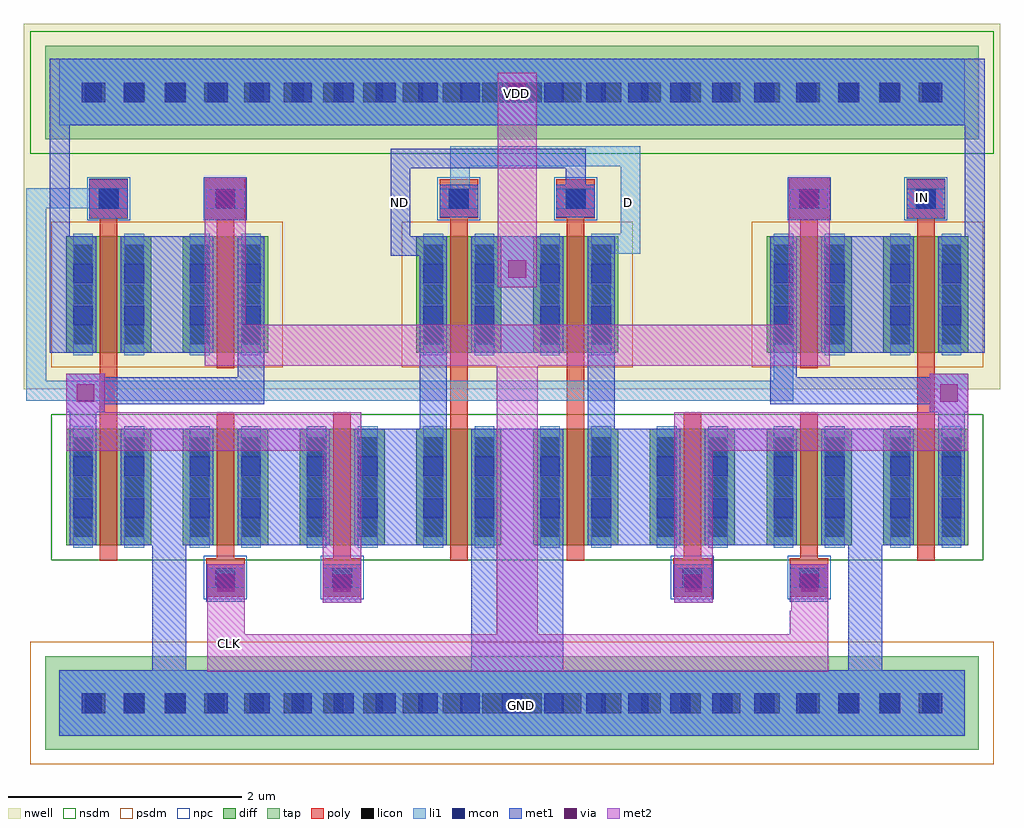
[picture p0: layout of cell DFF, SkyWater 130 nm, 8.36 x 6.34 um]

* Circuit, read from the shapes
.subckt DFF CLK D GND IN ND VDD
XM1 GND n1 n2 GND sky130_fd_pr__nfet_01v8 w=1 l=0.15
XM2 n3 CLK GND GND sky130_fd_pr__nfet_01v8 w=1 l=0.15
XM3 ND n2 n3 GND sky130_fd_pr__nfet_01v8 w=1 l=0.15
XM4 GND D ND GND sky130_fd_pr__nfet_01v8 w=1 l=0.15
XM5 D ND GND GND sky130_fd_pr__nfet_01v8 w=1 l=0.15
XM6 n4 n1 D GND sky130_fd_pr__nfet_01v8 w=1 l=0.15
XM7 GND CLK n4 GND sky130_fd_pr__nfet_01v8 w=1 l=0.15
XM8 n1 IN GND GND sky130_fd_pr__nfet_01v8 w=1 l=0.15
XM9 n5 n1 VDD VDD sky130_fd_pr__pfet_01v8 w=1 l=0.15
XM10 n2 CLK n5 VDD sky130_fd_pr__pfet_01v8 w=1 l=0.15
XM11 VDD D ND VDD sky130_fd_pr__pfet_01v8 w=1 l=0.15
XM12 D ND VDD VDD sky130_fd_pr__pfet_01v8 w=1 l=0.15
XM13 n6 CLK n1 VDD sky130_fd_pr__pfet_01v8 w=1 l=0.15
XM14 VDD IN n6 VDD sky130_fd_pr__pfet_01v8 w=1 l=0.15
.ends

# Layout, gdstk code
import gdstk
lib = gdstk.Library(unit=1e-6, precision=5e-09)
def R(c, l, rs):  # rectangles x0, y0, x1, y1
    for r in rs: c.add(gdstk.rectangle(r[:2], r[2:], *l))
def A(c, l, x, y, w, h, nx, ny, dx, dy):  # array of equal rectangles
    R(c, l, [(x+i*dx, y+j*dy, x+i*dx+w, y+j*dy+h) for i in range(nx) for j in range(ny)])
nwell = (64, 20)
diff = (65, 20)
tap = (65, 44)
poly = (66, 20)
licon = (66, 44)
li1 = (67, 20)
mcon = (67, 44)
met1 = (68, 20)
via = (68, 44)
met2 = (69, 20)
nsdm = (93, 44)
psdm = (94, 20)
npc = (95, 20)

sky130_fd_pr__pfet_01v8_ = lib.new_cell('sky130_fd_pr__pfet_01v8_MA8JHN')
R(sky130_fd_pr__pfet_01v8_, nwell, [(-0.545,-0.99,0.545,0.82)])
R(sky130_fd_pr__pfet_01v8_, diff, [(-0.365,-0.68,0.365,0.32)])
R(sky130_fd_pr__pfet_01v8_, poly, [(-0.075,-0.81,0.075,0.475), (-0.165,0.475,0.165,0.805)])
A(sky130_fd_pr__pfet_01v8_, licon, -0.305, -0.605, 0.17, 0.17, 1, 3, 0, 0.34)
A(sky130_fd_pr__pfet_01v8_, licon, 0.135, -0.605, 0.17, 0.17, 1, 3, 0, 0.34)
R(sky130_fd_pr__pfet_01v8_, licon, [(-0.085,0.555,0.085,0.725)])
R(sky130_fd_pr__pfet_01v8_, li1, [(-0.305,-0.7,-0.135,0.34), (0.135,-0.7,0.305,0.34), (-0.165,0.555,0.165,0.725)])
R(sky130_fd_pr__pfet_01v8_, mcon, [(-0.305,-0.445,-0.135,-0.275), (0.135,-0.445,0.305,-0.275), (-0.305,-0.085,-0.135,0.085), (0.135,-0.085,0.305,0.085), (-0.085,0.555,0.085,0.725)])
R(sky130_fd_pr__pfet_01v8_, met1, [(-0.335,-0.68,-0.105,0.32), (0.105,-0.68,0.335,0.32), (-0.145,0.525,0.145,0.755)])
R(sky130_fd_pr__pfet_01v8_, psdm, [(-0.49,-0.805,0.49,0.445)])
R(sky130_fd_pr__pfet_01v8_, npc, [(-0.185,0.455,0.185,0.825)])

sky130_fd_pr__nfet_01v8_ = lib.new_cell('sky130_fd_pr__nfet_01v8_6H9P4D')
R(sky130_fd_pr__nfet_01v8_, diff, [(-0.365,-0.5,0.365,0.5)])
R(sky130_fd_pr__nfet_01v8_, poly, [(-0.075,-0.63,0.075,0.63)])
A(sky130_fd_pr__nfet_01v8_, licon, -0.305, -0.425, 0.17, 0.17, 1, 3, 0, 0.34)
A(sky130_fd_pr__nfet_01v8_, licon, 0.135, -0.425, 0.17, 0.17, 1, 3, 0, 0.34)
R(sky130_fd_pr__nfet_01v8_, li1, [(-0.305,-0.52,-0.135,0.52), (0.135,-0.52,0.305,0.52)])
R(sky130_fd_pr__nfet_01v8_, mcon, [(-0.305,-0.265,-0.135,-0.095), (0.135,-0.265,0.305,-0.095), (-0.305,0.095,-0.135,0.265), (0.135,0.095,0.305,0.265)])
R(sky130_fd_pr__nfet_01v8_, met1, [(-0.335,-0.5,-0.105,0.5), (0.105,-0.5,0.335,0.5)])
R(sky130_fd_pr__nfet_01v8_, nsdm, [(-0.49,-0.625,0.49,0.625)])

c_sky130_fd_pr__nfet_01v8_ = lib.new_cell('sky130_fd_pr__nfet_01v8_59MFY5')
R(c_sky130_fd_pr__nfet_01v8_, diff, [(-0.365,-0.345,0.365,0.655)])
R(c_sky130_fd_pr__nfet_01v8_, poly, [(-0.165,-0.785,0.165,-0.455), (-0.075,-0.455,0.075,0.785)])
A(c_sky130_fd_pr__nfet_01v8_, licon, -0.305, -0.27, 0.17, 0.17, 1, 3, 0, 0.34)
A(c_sky130_fd_pr__nfet_01v8_, licon, 0.135, -0.27, 0.17, 0.17, 1, 3, 0, 0.34)
R(c_sky130_fd_pr__nfet_01v8_, licon, [(-0.085,-0.705,0.085,-0.535)])
R(c_sky130_fd_pr__nfet_01v8_, li1, [(-0.165,-0.705,0.165,-0.535), (-0.305,-0.365,-0.135,0.675), (0.135,-0.365,0.305,0.675)])
R(c_sky130_fd_pr__nfet_01v8_, mcon, [(-0.085,-0.705,0.085,-0.535), (-0.305,-0.11,-0.135,0.06), (0.135,-0.11,0.305,0.06), (-0.305,0.25,-0.135,0.42), (0.135,0.25,0.305,0.42)])
R(c_sky130_fd_pr__nfet_01v8_, met1, [(-0.145,-0.735,0.145,-0.505), (-0.335,-0.345,-0.105,0.655), (0.105,-0.345,0.335,0.655)])
R(c_sky130_fd_pr__nfet_01v8_, nsdm, [(-0.49,-0.47,0.49,0.78)])
R(c_sky130_fd_pr__nfet_01v8_, npc, [(-0.185,-0.805,0.185,-0.435)])

dff = lib.new_cell('DFF')
R(dff, nwell, [(-3.18,0,5.18,3.13)])
R(dff, tap, [(-3,-3.09,5,-2.29), (-3,2.14,5,2.94)])
R(dff, poly, [(-2.53,-0.21,-2.38,0.18), (0.47,-0.21,0.62,0.18), (1.47,-0.21,1.62,0.18), (4.47,-0.21,4.62,0.18)])
A(dff, licon, -2.655, -2.775, 0.17, 0.17, 22, 2, 0.34, 5.23)
R(dff, li1, [(-2.88,-2.97,4.88,-2.41), (-3.16,-0.1,3.41,0.07), (-3.16,0.07,-2.99,1.55), (3.24,0.07,3.41,0.29), (1.85,1.16,2.1,1.33), (1.93,1.33,2.1,1.91), (-3.16,1.55,-2.29,1.72), (0.47,1.71,0.64,1.91), (0.47,1.91,2.1,2.08), (-2.88,2.26,4.88,2.83)])
A(dff, mcon, -2.685, -2.775, 0.17, 0.17, 21, 2, 0.36, 5.23)
A(dff, met1, 1.88, -1.34, 0.33, 1, 3, 1, 1, 0)
A(dff, met1, -2.12, 0.31, 0.33, 1, 3, 1, 3, 0)
R(dff, met1, [(-2.88,-2.97,4.88,-2.41), (-2.08,-2.41,-1.79,-1.34), (0.65,-2.41,1.44,-0.34), (3.88,-2.41,4.17,-1.34), (-0.62,-1.83,-0.29,-1.5), (2.39,-1.83,2.72,-1.78), (-1.62,-1.82,-1.29,-1.5), (3.38,-1.82,3.71,-1.5), (2.38,-1.78,2.72,-1.5), (-2.15,-1.34,-1.79,-0.34), (-1.12,-1.34,-0.79,-0.34), (-0.12,-1.34,0.21,-0.34), (-2.79,-0.34,-2.56,-0.2), (0.21,-0.34,0.44,0.31), (1.65,-0.34,1.88,0.31), (4.65,-0.34,4.88,-0.2), (-2.82,-0.2,-2.49,-0.13), (4.58,-0.2,4.91,-0.13), (-2.82,-0.13,-1.12,0.1), (3.21,-0.13,4.91,0.1), (-2.82,0.1,-2.49,0.13), (-1.35,0.1,-1.12,0.31), (3.21,0.1,3.44,0.31), (4.58,0.1,4.91,0.13), (-2.96,0.31,-2.79,2.26), (4.88,0.31,5.05,2.26), (-0.04,1.14,0.21,1.31), (-0.04,1.31,0.13,1.89), (-1.63,1.45,-1.28,1.81), (3.37,1.45,3.72,1.81), (-2.62,1.46,-2.29,1.8), (4.38,1.46,4.71,1.8), (0.38,1.47,0.71,1.75), (1.38,1.47,1.71,1.75), (1.46,1.75,1.63,1.89), (-0.04,1.89,1.63,2.06), (-2.96,2.26,5.05,2.83)])
R(dff, via, [(-0.53,-1.74,-0.38,-1.59), (2.48,-1.74,2.63,-1.59), (-1.525,-1.735,-1.375,-1.585), (3.475,-1.735,3.625,-1.585), (-2.73,-0.11,-2.58,0.04), (4.67,-0.11,4.82,0.04), (0.97,0.955,1.12,1.105), (-1.53,1.555,-1.38,1.705), (3.47,1.555,3.62,1.705), (0.97,2.475,1.12,2.625)])
R(dff, met2, [(-1.61,-2.42,3.71,-2.1), (-1.61,-2.1,-1.29,-1.5), (0.87,-2.1,1.22,0.2), (3.38,-2.1,3.71,-1.9), (3.39,-1.9,3.71,-1.5), (-0.62,-1.83,-0.29,-0.53), (2.39,-1.83,2.72,-0.53), (-2.82,-0.53,-0.29,-0.2), (2.39,-0.53,4.91,-0.2), (-2.82,-0.2,-2.49,0.13), (4.58,-0.2,4.91,0.13), (-1.63,0.2,3.72,0.55), (-1.63,0.55,-1.28,1.81), (3.37,0.55,3.72,1.81), (0.88,0.87,1.21,2.71)])
A(dff, nsdm, -1.965, -1.465, 0.02, 1.25, 7, 1, 1, 0)
R(dff, nsdm, [(-3.125,2.015,5.125,3.065)])
A(dff, psdm, -1.965, 0.185, 0.02, 1.25, 3, 1, 3, 0)
R(dff, psdm, [(-3.125,-3.215,5.125,-2.165)])
dff.add(gdstk.Reference(sky130_fd_pr__pfet_01v8_, (-1.455,0.99)))
dff.add(gdstk.Reference(sky130_fd_pr__nfet_01v8_, (-2.455,-0.84)))
dff.add(gdstk.Reference(sky130_fd_pr__pfet_01v8_, (-2.455,0.99)))
dff.add(gdstk.Reference(c_sky130_fd_pr__nfet_01v8_, (-1.455,-0.995)))
dff.add(gdstk.Reference(c_sky130_fd_pr__nfet_01v8_, (-0.455,-0.995)))
dff.add(gdstk.Reference(sky130_fd_pr__pfet_01v8_, (0.545,0.99)))
dff.add(gdstk.Reference(sky130_fd_pr__nfet_01v8_, (0.545,-0.84)))
dff.add(gdstk.Reference(sky130_fd_pr__pfet_01v8_, (1.545,0.99)))
dff.add(gdstk.Reference(sky130_fd_pr__nfet_01v8_, (1.545,-0.84)))
dff.add(gdstk.Reference(c_sky130_fd_pr__nfet_01v8_, (2.545,-0.995)))
dff.add(gdstk.Reference(sky130_fd_pr__pfet_01v8_, (3.545,0.99)))
dff.add(gdstk.Reference(c_sky130_fd_pr__nfet_01v8_, (3.545,-0.995)))
dff.add(gdstk.Reference(sky130_fd_pr__nfet_01v8_, (4.545,-0.84)))
dff.add(gdstk.Reference(sky130_fd_pr__pfet_01v8_, (4.545,0.99)))
dff.add(gdstk.Label('GND', (1.08,-2.71), layer=68, texttype=5))
dff.add(gdstk.Label('IN', (4.52,1.64), layer=68, texttype=5))
dff.add(gdstk.Label('ND', (0.04,1.6), layer=68, texttype=5))
dff.add(gdstk.Label('GND', (1.08,-2.71), layer=68, texttype=16))
dff.add(gdstk.Label('IN', (4.52,1.64), layer=68, texttype=16))
dff.add(gdstk.Label('ND', (0.04,1.6), layer=68, texttype=16))
dff.add(gdstk.Label('D', (2,1.6), layer=67, texttype=5))
dff.add(gdstk.Label('D', (2,1.6), layer=67, texttype=16))
dff.add(gdstk.Label('VDD', (1.04,2.53), layer=69, texttype=5))
dff.add(gdstk.Label('CLK', (-1.42,-2.18), layer=69, texttype=5))
dff.add(gdstk.Label('VDD', (1.04,2.53), layer=69, texttype=16))
dff.add(gdstk.Label('CLK', (-1.42,-2.18), layer=69, texttype=16))

lib.write_gds('DFF.gds')
